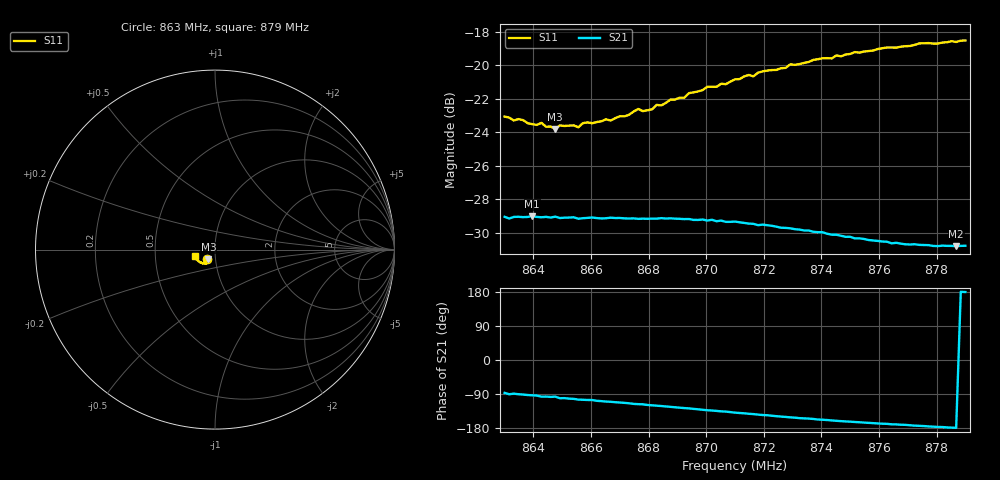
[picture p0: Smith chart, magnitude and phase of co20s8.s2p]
# HZ S RI R 50
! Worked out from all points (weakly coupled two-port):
!   101 points, 863 MHz to 879 MHz, reference 50 ohm
!   highest |S21| = -29.01 dB at 863.96 MHz (marker M1); lowest = -30.8 dB at 878.68 MHz (marker M2)
!   lowest |S11| = -23.8 dB at 864.76 MHz (marker M3), VSWR 1.14, Z = 46.2 - j4.93 ohm
!   |S11| at or under -10 dB: start of sweep to end of sweep
!   S12 and S22 are empty: the file has one direction only
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8.63e8  -0.0442 -0.0547  0.00201 -0.0352  0 0  0 0
8.6396e8  -0.0391 -0.0541  -0.00193 -0.0354  0 0  0 0
8.6428e8  -0.0382 -0.0555  -0.00414 -0.0349  0 0  0 0
8.6476e8  -0.0367 -0.0531  -0.00409 -0.0351  0 0  0 0
8.6492e8  -0.0369 -0.0549  -0.0066 -0.0343  0 0  0 0
8.6556e8  -0.0347 -0.0554  -0.00874 -0.0337  0 0  0 0
8.6572e8  -0.0342 -0.0579  -0.00901 -0.0338  0 0  0 0
8.6668e8  -0.0332 -0.0598  -0.0122 -0.0329  0 0  0 0
8.6764e8  -0.0343 -0.0657  -0.0155 -0.0311  0 0  0 0
8.678e8  -0.0339 -0.0647  -0.0158 -0.031  0 0  0 0
8.6812e8  -0.0343 -0.0655  -0.0172 -0.0303  0 0  0 0
8.6828e8  -0.0353 -0.0675  -0.0177 -0.03  0 0  0 0
8.6844e8  -0.0349 -0.0674  -0.0183 -0.0298  0 0  0 0
8.6876e8  -0.036 -0.0704  -0.0193 -0.0291  0 0  0 0
8.6924e8  -0.0385 -0.0702  -0.0208 -0.0278  0 0  0 0
8.694e8  -0.0398 -0.0724  -0.0212 -0.0275  0 0  0 0
8.7068e8  -0.0458 -0.075  -0.0246 -0.0236  0 0  0 0
8.71e8  -0.0491 -0.0765  -0.0257 -0.0224  0 0  0 0
8.7372e8  -0.0704 -0.0764  -0.029 -0.0132  0 0  0 0
8.7644e8  -0.0953 -0.061  -0.0289 -0.00522  0 0  0 0
8.7868e8  -0.1103 -0.0406  -0.0288 -0.000481  0 0  0 0
8.79e8  -0.1127 -0.0376  -0.0289 0.00034  0 0  0 0
